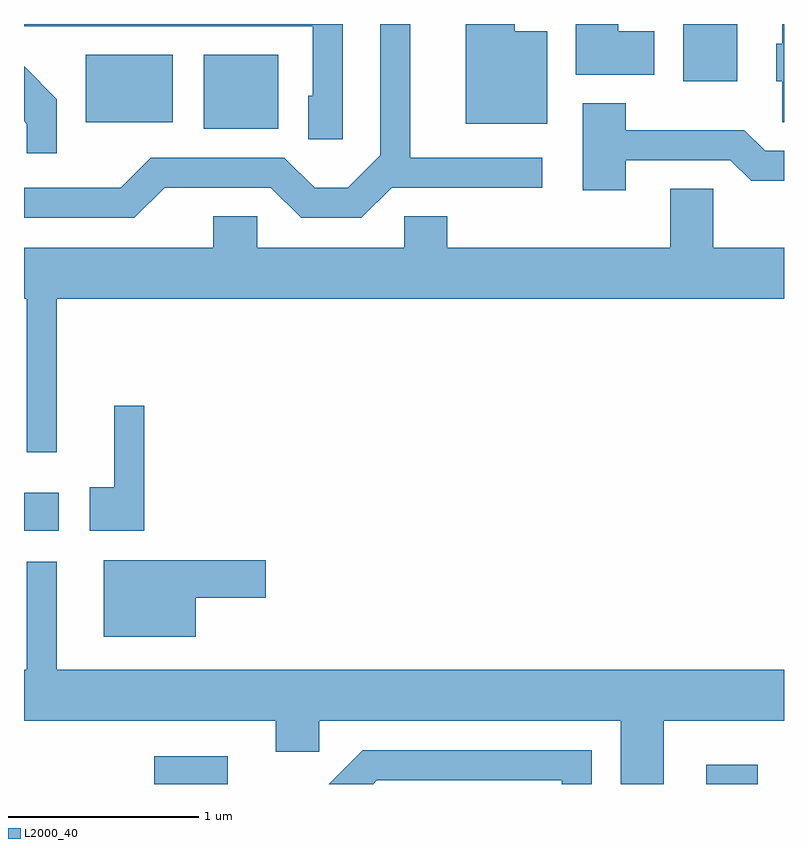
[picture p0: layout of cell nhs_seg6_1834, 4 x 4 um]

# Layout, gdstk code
import gdstk
lib = gdstk.Library(unit=1e-6, precision=1e-09)
def R(c, l, rs):  # rectangles x0, y0, x1, y1
    for r in rs: c.add(gdstk.rectangle(r[:2], r[2:], *l))
def P(c, l, *ps):  # polygons
    for p in ps: c.add(gdstk.Polygon(p, *l))
L2000_40 = (2000, 40)

nhs_seg6_1834 = lib.new_cell('nhs_seg6_1834')
R(nhs_seg6_1834, L2000_40, [(242.296,1534.162,242.683,1534.309), (245.203,1534.162,245.474,1534.264), (241.611,1535.496,241.794,1535.694), (242.556,1537.611,242.949,1537.999), (241.936,1537.646,242.394,1537.999), (245.081,1537.861,245.364,1538.162)])
P(nhs_seg6_1834, L2000_40, [(245.611,1538.162),(245.601,1538.162),(245.601,1538.059),(245.571,1538.059),(245.571,1537.861),(245.601,1537.861),(245.601,1537.646),(245.611,1537.646)],
  [(243.289,1538.162),(241.611,1538.162),(241.611,1538.151),(243.131,1538.151),(243.131,1537.784),(243.106,1537.784),(243.106,1537.556),(243.289,1537.556)],
  [(244.364,1538.124),(244.194,1538.124),(244.194,1538.162),(243.936,1538.162),(243.936,1537.636),(244.364,1537.636)],
  [(244.929,1538.124),(244.739,1538.124),(244.739,1538.162),(244.516,1538.162),(244.516,1537.896),(244.929,1537.896)],
  [(242.352,1537.301),(242.909,1537.301),(243.069,1537.141),(243.387,1537.141),(243.547,1537.301),(244.338,1537.301),(244.338,1537.459),(243.644,1537.459),(243.644,1538.162),(243.486,1538.162),(243.486,1537.472),(243.314,1537.299),(243.142,1537.299),(242.982,1537.459),(242.279,1537.459),(242.119,1537.299),(241.611,1537.299),(241.611,1537.141),(242.192,1537.141)],
  [(241.784,1537.767),(241.611,1537.94),(241.611,1537.649),(241.626,1537.634),(241.626,1537.483),(241.784,1537.483)],
  [(244.779,1537.446),(245.329,1537.446),(245.439,1537.336),(245.611,1537.336),(245.611,1537.494),(245.512,1537.494),(245.402,1537.604),(244.779,1537.604),(244.779,1537.744),(244.551,1537.744),(244.551,1537.286),(244.779,1537.286)],
  [(241.784,1536.716),(245.611,1536.716),(245.611,1536.984),(245.239,1536.984),(245.239,1537.294),(245.011,1537.294),(245.011,1536.984),(243.839,1536.984),(243.839,1537.149),(243.611,1537.149),(243.611,1536.984),(242.839,1536.984),(242.839,1537.149),(242.606,1537.149),(242.606,1536.984),(241.611,1536.984),(241.611,1536.716),(241.626,1536.716),(241.626,1535.908),(241.784,1535.908)],
  [(242.244,1536.153),(242.086,1536.153),(242.086,1535.724),(241.956,1535.724),(241.956,1535.496),(242.244,1535.496)],
  [(242.514,1535.141),(242.884,1535.141),(242.884,1535.339),(242.031,1535.339),(242.031,1534.936),(242.514,1534.936)],
  [(244.979,1534.496),(245.611,1534.496),(245.611,1534.764),(241.784,1534.764),(241.784,1535.333),(241.626,1535.333),(241.626,1534.764),(241.611,1534.764),(241.611,1534.496),(242.936,1534.496),(242.936,1534.331),(243.164,1534.331),(243.164,1534.496),(244.751,1534.496),(244.751,1534.162),(244.979,1534.162)],
  [(243.467,1534.181),(244.441,1534.181),(244.441,1534.162),(244.599,1534.162),(244.599,1534.339),(243.394,1534.339),(243.216,1534.162),(243.448,1534.162)])

lib.write_gds('nhs_seg6_1834.gds')
